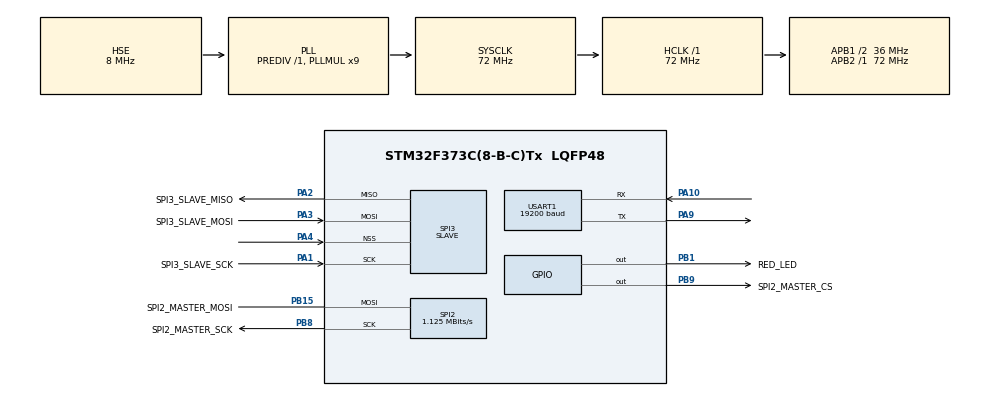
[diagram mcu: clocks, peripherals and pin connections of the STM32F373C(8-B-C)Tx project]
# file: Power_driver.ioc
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FREERTOS.BinarySemaphores01=SaveToFlashBinarySem,Dynamic,NULL
FREERTOS.Queues01=SlaveToDAC_Queue,4,uint32_t,0,Dynamic,NULL,NULL;BufferQueue,4,uint8_t,0,Dynamic,NULL,NULL;SPIQueue,4,uint32_t,0,Dynamic,NULL,NULL
FREERTOS.Tasks01=UART_Task,0,128,StartUART_Task,Default,NULL,Dynamic,NULL,NULL;SPI_SlaveTask,1,128,StartSPI_Slave,Default,NULL,Dynamic,NULL,NULL;SPI_DacTask,0,128,StartSPI_DAC,Default,NULL,Dynamic,NULL,NULL;SPI_ReceiveHost,0,128,SPI_ReceiveHostTask,Default,NULL,Dynamic,NULL,NULL
FREERTOS.configTOTAL_HEAP_SIZE=8000
Mcu.Family=STM32F3
Mcu.Name=STM32F373C(8-B-C)Tx
Mcu.Package=LQFP48
NVIC.PriorityGroup=NVIC_PRIORITYGROUP_4
NVIC.SPI3_IRQn=true\:5\:0\:true\:false\:true\:true\:true\:true
NVIC.TIM18_DAC2_IRQn=true\:0\:0\:false\:false\:true\:false\:false\:true
NVIC.TimeBase=TIM18_DAC2_IRQn
NVIC.TimeBaseIP=TIM18
NVIC.USART1_IRQn=true\:6\:0\:true\:false\:true\:true\:true\:true
PA1.GPIO_Label=SPI3_SLAVE_SCK
PA1.Mode=Full_Duplex_Slave
PA1.Signal=SPI3_SCK
PA10.Mode=Asynchronous
PA10.Signal=USART1_RX
PA13.Mode=Trace_Asynchronous_SW
PA13.Signal=SYS_JTMS-SWDIO
PA14.Mode=Trace_Asynchronous_SW
PA14.Signal=SYS_JTCK-SWCLK
PA2.GPIO_Label=SPI3_SLAVE_MISO
PA2.Mode=Full_Duplex_Slave
PA2.Signal=SPI3_MISO
PA3.GPIO_Label=SPI3_SLAVE_MOSI
PA3.Mode=Full_Duplex_Slave
PA3.Signal=SPI3_MOSI
PA4.Mode=NSS_Signal_Hard_Input
PA4.Signal=SPI3_NSS
PA9.Mode=Asynchronous
PA9.Signal=USART1_TX
PB1.GPIO_Label=RED_LED
PB1.Signal=GPIO_Output
PB15.GPIO_Label=SPI2_MASTER_MOSI
PB15.Mode=Simplex_Bidirectional_Master
PB15.Signal=SPI2_MOSI
PB3.Mode=Trace_Asynchronous_SW
PB3.Signal=SYS_JTDO-TRACESWO
PB6.Signal=I2C1_SCL
PB7.Signal=I2C1_SDA
PB8.GPIO_Label=SPI2_MASTER_SCK
PB8.Mode=Simplex_Bidirectional_Master
PB8.Signal=SPI2_SCK
PB9.GPIO_Label=SPI2_MASTER_CS
PB9.Signal=GPIO_Output
PF0-OSC_IN.Mode=HSE-External-Oscillator
PF0-OSC_IN.Signal=RCC_OSC_IN
PF1-OSC_OUT.Mode=HSE-External-Oscillator
PF1-OSC_OUT.Signal=RCC_OSC_OUT
ProjectManager.HeapSize=0x200
ProjectManager.StackSize=0x400
ProjectManager.TargetToolchain=MDK-ARM V5.27
RCC.AHBFreq_Value=72000000
RCC.APB1CLKDivider=RCC_HCLK_DIV2
RCC.APB1Freq_Value=36000000
RCC.APB1TimFreq_Value=72000000
RCC.APB2Freq_Value=72000000
RCC.APB2TimFreq_Value=72000000
RCC.CortexFreq_Value=72000000
RCC.HCLKFreq_Value=72000000
RCC.HSE_VALUE=8000000
RCC.HSI_VALUE=8000000
RCC.LSE_VALUE=32768
RCC.PLLMUL=RCC_PLL_MUL9
RCC.PLLSourceVirtual=RCC_PLLSOURCE_HSE
RCC.SYSCLKFreq_VALUE=72000000
RCC.SYSCLKSource=RCC_SYSCLKSOURCE_PLLCLK
RCC.USBFreq_Value=72000000
SPI2.BaudRatePrescaler=SPI_BAUDRATEPRESCALER_32
SPI2.CalculateBaudRate=1.125 MBits/s
SPI2.DataSize=SPI_DATASIZE_8BIT
SPI2.Direction=SPI_DIRECTION_1LINE
SPI2.Mode=SPI_MODE_MASTER
SPI2.VirtualType=VM_MASTER
SPI3.CLKPhase=SPI_PHASE_2EDGE
SPI3.DataSize=SPI_DATASIZE_8BIT
SPI3.Direction=SPI_DIRECTION_2LINES
SPI3.Mode=SPI_MODE_SLAVE
SPI3.VirtualNSS=VM_NSSHARD
SPI3.VirtualType=VM_SLAVE
USART1.BaudRate=19200
USART1.VirtualMode-Asynchronous=VM_ASYNC
VP_FREERTOS_VS_CMSIS_V1.Mode=CMSIS_V1
VP_SYS_VS_tim18.Mode=TIM18
board=custom

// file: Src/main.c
/* USER CODE BEGIN Header */
/**
  ******************************************************************************
  * @file           : main.c
  * @brief          : Main program body
  ******************************************************************************
  * @attention
  *
  * <h2><center>&copy; Copyright (c) 2020 STMicroelectronics.
  * All rights reserved.</center></h2>
  *
  * This software component is licensed by ST under Ultimate Liberty license
  * SLA0044, the "License"; You may not use this file except in compliance with
  * the License. You may obtain a copy of the License at:
  *                             www.st.com/SLA0044
  *
  ******************************************************************************
  */
/* USER CODE END Header */

#include "main.h"
#include "cmsis_os.h"

SPI_HandleTypeDef hspi2;
SPI_HandleTypeDef hspi3;

UART_HandleTypeDef huart1;

osThreadId UART_TaskHandle;
osThreadId SPI_SlaveTaskHandle;
osThreadId SPI_DacTaskHandle;
osThreadId SPI_ReceiveHostHandle;
osMessageQId SlaveToDAC_QueueHandle;
osMessageQId BufferQueueHandle;
osMessageQId SPIQueueHandle;
osSemaphoreId SaveToFlashBinarySemHandle;
/* USER CODE BEGIN PV */
osSemaphoreId USART1_BinarySemHandle;
osMessageQId UARTQueueHandle;
FLASH_EraseInitTypeDef hflash;
extern FlashMapTypeDef FlashMap;

/* USER CODE END PV */

void SystemClock_Config(void);
static void MX_GPIO_Init(void);
static void MX_SPI3_Init(void);
static void MX_USART1_UART_Init(void);
static void MX_SPI2_Init(void);
void StartUART_Task(void const * argument);
void StartSPI_Slave(void const * argument);
void StartSPI_DAC(void const * argument);
void SPI_ReceiveHostTask(void const * argument);

/* USER CODE BEGIN 0 */
uint8_t data_rx_SPI[3];
/* USER CODE END 0 */

int main(void)
{

  /* MCU Configuration--------------------------------------------------------*/

  /* Reset of all peripherals, Initializes the Flash interface and the Systick. */
  HAL_Init();

  /* Configure the system clock */
  SystemClock_Config();

  /* Initialize all configured peripherals */
  MX_GPIO_Init();
  MX_SPI3_Init();
  MX_USART1_UART_Init();
  MX_SPI2_Init();

  /* Create the semaphores(s) */
  /* definition and creation of SaveToFlashBinarySem */
  osSemaphoreDef(SaveToFlashBinarySem);
  SaveToFlashBinarySemHandle = osSemaphoreCreate(osSemaphore(SaveToFlashBinarySem), 1);

  /* USER CODE BEGIN RTOS_SEMAPHORES */
  /* add semaphores, ... */
  osSemaphoreDef(USART1_BinarySem);
  USART1_BinarySemHandle = osSemaphoreCreate(osSemaphore(USART1_BinarySem), 1);
  /* USER CODE END RTOS_SEMAPHORES */

  /* Create the queue(s) */
  /* definition and creation of SlaveToDAC_Queue */
  osMessageQDef(SlaveToDAC_Queue, 4, uint32_t);
  SlaveToDAC_QueueHandle = osMessageCreate(osMessageQ(SlaveToDAC_Queue), NULL);

  /* definition and creation of BufferQueue */
  osMessageQDef(BufferQueue, 4, uint8_t);
  BufferQueueHandle = osMessageCreate(osMessageQ(BufferQueue), NULL);

  /* definition and creation of SPIQueue */
  osMessageQDef(SPIQueue, 4, uint32_t);
  SPIQueueHandle = osMessageCreate(osMessageQ(SPIQueue), NULL);

  /* USER CODE BEGIN RTOS_QUEUES */
  osMessageQDef(UARTQueue, 256, uint8_t);
  UARTQueueHandle = osMessageCreate(osMessageQ(UARTQueue), NULL);
  /* USER CODE END RTOS_QUEUES */

  /* Create the thread(s) */
  /* definition and creation of UART_Task */
  osThreadDef(UART_Task, StartUART_Task, osPriorityNormal, 0, 128);
  UART_TaskHandle = osThreadCreate(osThread(UART_Task), NULL);

  /* definition and creation of SPI_SlaveTask */
  osThreadDef(SPI_SlaveTask, StartSPI_Slave, osPriorityAboveNormal, 0, 128);
  SPI_SlaveTaskHandle = osThreadCreate(osThread(SPI_SlaveTask), NULL);

  /* definition and creation of SPI_DacTask */
  osThreadDef(SPI_DacTask, StartSPI_DAC, osPriorityNormal, 0, 128);
  SPI_DacTaskHandle = osThreadCreate(osThread(SPI_DacTask), NULL);

  /* definition and creation of SPI_ReceiveHost */
  osThreadDef(SPI_ReceiveHost, SPI_ReceiveHostTask, osPriorityNormal, 0, 128);
  SPI_ReceiveHostHandle = osThreadCreate(osThread(SPI_ReceiveHost), NULL);

  /* USER CODE BEGIN RTOS_THREADS */
  /* add threads, ... */
  //DAC_channel_init();
  //Flash_ReadParams();
  NVIC_EnableIRQ(SPI3_IRQn);
		HAL_NVIC_SetPriority(SPI3_IRQn, 5, 0);
  NVIC_EnableIRQ(USART1_IRQn);
		HAL_NVIC_SetPriority(USART1_IRQn, 6, 0);
  //__HAL_UART_ENABLE_IT(&huart1, UART_IT_RXNE);
  //uint32_t temp1 = VoltInterpolation(0x01);
		HAL_SPI_Receive_IT (&hspi3, data_rx_SPI, sizeof(uint8_t) * 3);

  /* USER CODE END RTOS_THREADS */

  /* Start scheduler */
  osKernelStart();

  /* We should never get here as control is now taken by the scheduler */

  /* Infinite loop */
  while (1)
  {

  }
}

void SystemClock_Config(void)
{
  RCC_OscInitTypeDef RCC_OscInitStruct = {0};
  RCC_ClkInitTypeDef RCC_ClkInitStruct = {0};
  RCC_PeriphCLKInitTypeDef PeriphClkInit = {0};

  /** Initializes the CPU, AHB and APB busses clocks
  */
  RCC_OscInitStruct.OscillatorType = RCC_OSCILLATORTYPE_HSE;
  RCC_OscInitStruct.HSEState = RCC_HSE_ON;
  RCC_OscInitStruct.HSEPredivValue = RCC_HSE_PREDIV_DIV1;
  RCC_OscInitStruct.HSIState = RCC_HSI_ON;
  RCC_OscInitStruct.PLL.PLLState = RCC_PLL_ON;
  RCC_OscInitStruct.PLL.PLLSource = RCC_PLLSOURCE_HSE;
  RCC_OscInitStruct.PLL.PLLMUL = RCC_PLL_MUL9;
  if (HAL_RCC_OscConfig(&RCC_OscInitStruct) != HAL_OK)
  {
    Error_Handler();
  }
  /** Initializes the CPU, AHB and APB busses clocks
  */
  RCC_ClkInitStruct.ClockType = RCC_CLOCKTYPE_HCLK|RCC_CLOCKTYPE_SYSCLK
                              |RCC_CLOCKTYPE_PCLK1|RCC_CLOCKTYPE_PCLK2;
  RCC_ClkInitStruct.SYSCLKSource = RCC_SYSCLKSOURCE_PLLCLK;
  RCC_ClkInitStruct.AHBCLKDivider = RCC_SYSCLK_DIV1;
  RCC_ClkInitStruct.APB1CLKDivider = RCC_HCLK_DIV2;
  RCC_ClkInitStruct.APB2CLKDivider = RCC_HCLK_DIV1;

  if (HAL_RCC_ClockConfig(&RCC_ClkInitStruct, FLASH_LATENCY_2) != HAL_OK)
  {
    Error_Handler();
  }
  PeriphClkInit.PeriphClockSelection = RCC_PERIPHCLK_USART1;
  PeriphClkInit.Usart1ClockSelection = RCC_USART1CLKSOURCE_PCLK2;
  if (HAL_RCCEx_PeriphCLKConfig(&PeriphClkInit) != HAL_OK)
  {
    Error_Handler();
  }
}

static void MX_SPI2_Init(void)
{

  /* SPI2 parameter configuration*/
  hspi2.Instance = SPI2;
  hspi2.Init.Mode = SPI_MODE_MASTER;
  hspi2.Init.Direction = SPI_DIRECTION_1LINE;
  hspi2.Init.DataSize = SPI_DATASIZE_8BIT;
  hspi2.Init.CLKPolarity = SPI_POLARITY_LOW;
  hspi2.Init.CLKPhase = SPI_PHASE_1EDGE;
  hspi2.Init.NSS = SPI_NSS_SOFT;
  hspi2.Init.BaudRatePrescaler = SPI_BAUDRATEPRESCALER_32;
  hspi2.Init.FirstBit = SPI_FIRSTBIT_MSB;
  hspi2.Init.TIMode = SPI_TIMODE_DISABLE;
  hspi2.Init.CRCCalculation = SPI_CRCCALCULATION_DISABLE;
  hspi2.Init.CRCPolynomial = 7;
  hspi2.Init.CRCLength = SPI_CRC_LENGTH_DATASIZE;
  hspi2.Init.NSSPMode = SPI_NSS_PULSE_ENABLE;
  if (HAL_SPI_Init(&hspi2) != HAL_OK)
  {
    Error_Handler();
  }

}

static void MX_SPI3_Init(void)
{

  /* SPI3 parameter configuration*/
  hspi3.Instance = SPI3;
  hspi3.Init.Mode = SPI_MODE_SLAVE;
  hspi3.Init.Direction = SPI_DIRECTION_2LINES;
  hspi3.Init.DataSize = SPI_DATASIZE_8BIT;
  hspi3.Init.CLKPolarity = SPI_POLARITY_LOW;
  hspi3.Init.CLKPhase = SPI_PHASE_2EDGE;
  hspi3.Init.NSS = SPI_NSS_HARD_INPUT;
  hspi3.Init.FirstBit = SPI_FIRSTBIT_MSB;
  hspi3.Init.TIMode = SPI_TIMODE_DISABLE;
  hspi3.Init.CRCCalculation = SPI_CRCCALCULATION_DISABLE;
  hspi3.Init.CRCPolynomial = 7;
  hspi3.Init.CRCLength = SPI_CRC_LENGTH_DATASIZE;
  hspi3.Init.NSSPMode = SPI_NSS_PULSE_DISABLE;
  if (HAL_SPI_Init(&hspi3) != HAL_OK)
  {
    Error_Handler();
  }

}

static void MX_USART1_UART_Init(void)
{

  huart1.Instance = USART1;
  huart1.Init.BaudRate = 19200;
  huart1.Init.WordLength = UART_WORDLENGTH_8B;
  huart1.Init.StopBits = UART_STOPBITS_1;
  huart1.Init.Parity = UART_PARITY_NONE;
  huart1.Init.Mode = UART_MODE_TX_RX;
  huart1.Init.HwFlowCtl = UART_HWCONTROL_NONE;
  huart1.Init.OverSampling = UART_OVERSAMPLING_16;
  huart1.Init.OneBitSampling = UART_ONE_BIT_SAMPLE_DISABLE;
  huart1.AdvancedInit.AdvFeatureInit = UART_ADVFEATURE_NO_INIT;
  if (HAL_UART_Init(&huart1) != HAL_OK)
  {
    Error_Handler();
  }

}

static void MX_GPIO_Init(void)
{
  GPIO_InitTypeDef GPIO_InitStruct = {0};

  /* GPIO Ports Clock Enable */
  __HAL_RCC_GPIOF_CLK_ENABLE();
  __HAL_RCC_GPIOA_CLK_ENABLE();
  __HAL_RCC_GPIOB_CLK_ENABLE();

  /*Configure GPIO pin Output Level */
  HAL_GPIO_WritePin(GPIOB, RED_LED_Pin|SPI2_MASTER_CS_Pin, GPIO_PIN_RESET);

  /*Configure GPIO pins : RED_LED_Pin SPI2_MASTER_CS_Pin */
  GPIO_InitStruct.Pin = RED_LED_Pin|SPI2_MASTER_CS_Pin;
  GPIO_InitStruct.Mode = GPIO_MODE_OUTPUT_PP;
  GPIO_InitStruct.Pull = GPIO_NOPULL;
  GPIO_InitStruct.Speed = GPIO_SPEED_FREQ_LOW;
  HAL_GPIO_Init(GPIOB, &GPIO_InitStruct);

  /*Configure GPIO pins : PB6 PB7 */
  GPIO_InitStruct.Pin = GPIO_PIN_6|GPIO_PIN_7;
  GPIO_InitStruct.Mode = GPIO_MODE_AF_OD;
  GPIO_InitStruct.Pull = GPIO_PULLUP;
  GPIO_InitStruct.Speed = GPIO_SPEED_FREQ_HIGH;
  GPIO_InitStruct.Alternate = GPIO_AF4_I2C1;
  HAL_GPIO_Init(GPIOB, &GPIO_InitStruct);

}

/* USER CODE BEGIN 4 */
//void HAL_GPIO_EXTI_Callback(uint16_t GPIO_Pin)
//{
//		static hostDataTypeDef xHostDataSlave;
//  static portBASE_TYPE xHigherPriorityTaskWoken = pdFALSE;
//  uint8_t data_rx[3];
//		if (GPIO_Pin == SPI3_SLAVE_CS_Pin)
//		{
//
//				if (HAL_SPI_Receive(&hspi3, data_rx, sizeof(uint8_t) * 3, 1000) == HAL_OK)
//						{
//								xHostDataSlave.command = data_rx[0];
//								xHostDataSlave.channel = data_rx[1];
//        xHostDataSlave.data = data_rx[2];
//#if (defined(_DEBUG))
//								{
//										printf("%d\n", data_rx[0]);
//								}
//#endif
//        HAL_GPIO_WritePin(RED_LED_GPIO_Port, RED_LED_Pin, GPIO_PIN_RESET);
//								xQueueSendFromISR(SPIQueueHandle, &xHostDataSlave, &xHigherPriorityTaskWoken);
//						}
//						portYIELD_FROM_ISR(xHigherPriorityTaskWoken);
//		}
//
//}
void HAL_SPI_RxCpltCallback (SPI_HandleTypeDef * hspi)
{
		static hostDataTypeDef xHostDataSlave;
  static portBASE_TYPE xHigherPriorityTaskWoken = pdFALSE;

		if (hspi == &hspi3)
		{

				//if (HAL_SPI_Receive(&hspi3, data_rx, sizeof(uint8_t) * 3, 1000) == HAL_OK)
						//{
								xHostDataSlave.command = data_rx_SPI[0];
								xHostDataSlave.channel = data_rx_SPI[1];
        xHostDataSlave.data = data_rx_SPI[2];
#if (defined(_DEBUG))
								{
										printf("%d\n", data_rx_SPI[0]);
								}
#endif
								memset(data_rx_SPI, 0, 3);
								xQueueSendFromISR(SPIQueueHandle, &xHostDataSlave, &xHigherPriorityTaskWoken);
						//}
						portYIELD_FROM_ISR(xHigherPriorityTaskWoken);
		}
}
/* USER CODE END 4 */

void StartUART_Task(void const * argument)
{
  /* USER CODE BEGIN 5 */
		uint8_t data_rx[10];
  uint8_t data_rx_temp;
		uint8_t i = 0;
		double receive_coeff;
		//portBASE_TYPE xStatus;
		xSemaphoreTake(USART1_BinarySemHandle, 0);
		HAL_UART_Receive_IT(&huart1, &data_rx_temp, sizeof(uint8_t) * 1);
  /* Infinite loop */
  for(;;)
  {

    //if (xSemaphoreTake(USART1_BinarySemHandle, portMAX_DELAY) == pdTRUE)
				if (xQueueReceive(SPIQueueHandle, data_rx, 100) == pdTRUE)
				{
						data_rx[++i] = data_rx_temp;
						#if defined(_DEBUG)
								printf("Str %s\n", data_rx);
						#endif

      if (UART_CheckEndString(data_rx) != true)
						{
								HAL_UART_AbortReceive(&huart1);
								//memset(data_rx, 0, sizeof(data_rx));
        //memset(huart1.pRxBuffPtr , 0, sizeof(huart1.pRxBuffPtr));
						}
						else
						{
								switch(data_rx[0])
										{
												case('1'):
														receive_coeff = atof((char *)&data_rx[2]);
														FlashMap.coeff_a = receive_coeff;
														#if defined(_DEBUG)
																printf("%f\n", FlashMap.coeff_a);
														#endif
														memset(data_rx, 0, sizeof(data_rx));
														break;
												case('2'):
														receive_coeff = atof((char *)&data_rx[2]);
														FlashMap.coeff_b = receive_coeff;
														memset(data_rx, 0, sizeof(data_rx));
														break;
												case('3'):
														receive_coeff = atof((char *)&data_rx[2]);
														FlashMap.coeff_c = receive_coeff;
														memset(data_rx, 0, sizeof(data_rx));
														break;
												case('4'):
														/**Create save serial number*/
												case('5'):
														WriteStruct_to_FLASH ();
														break;
												default:
														break;
										}
						}
      HAL_UART_Receive_IT(&huart1, &data_rx_temp, sizeof(uint8_t) * 1);
				}
  }
  /* USER CODE END 5 */
}

void StartSPI_Slave(void const * argument)
{
  /* USER CODE BEGIN StartSPI_Slave */
		uint8_t temp[3];
  hostDataTypeDef xHostDataFromSPI;
  portBASE_TYPE xStatus;
  //HAL_SPI_Receive_IT (&hspi3, temp, sizeof(uint8_t) * 3);
  /* Infinite loop */
  for(;;)
  {
				HAL_SPI_Receive_IT (&hspi3, data_rx_SPI, sizeof(uint8_t) * 3);
				if (xQueueReceive(SPIQueueHandle, &xHostDataFromSPI, 100) == pdTRUE)
				{
						#if defined(_DEBUG)
						//printf("SlaveSPI\n");
						#endif
						switch (xHostDataFromSPI.command)
						{
								case CHECK_CONNECTION: //Check connection
										if ((xStatus = xQueueSend(BufferQueueHandle, &xHostDataFromSPI, 100)) != errQUEUE_FULL)
												taskYIELD();
										break;
								case RECEIVE_SERIAL_NUM: //Receive serial number
										if ((xStatus = xQueueSend(BufferQueueHandle, &xHostDataFromSPI, 100)) != errQUEUE_FULL)
												taskYIELD();
										break;
								case TRANSMIT_TO_DAC: //Transmit to DAC
										//if ((xStatus = xQueueSend(BufferQueueHandle, &xHostDataSlave, 100)) != errQUEUE_FULL)
												if ((xStatus = xQueueSend(SlaveToDAC_QueueHandle, &xHostDataFromSPI, 100)) != errQUEUE_FULL)
										break;
								default:
										taskYIELD();
						}
						taskYIELD();
				}
		}
  /* USER CODE END StartSPI_Slave */
}

void StartSPI_DAC(void const * argument)
{
  /* USER CODE BEGIN StartSPI_DAC */
  hostDataTypeDef xHostData;
		uint8_t DAC_setup;
  /* Infinite loop */
  for(;;)
  {
				if (xQueueReceive(SlaveToDAC_QueueHandle, &xHostData, 10) == pdPASS)
				{
						taskENTER_CRITICAL();
      #if defined(_DEBUG)
								printf("Data from SPI %d\n", xHostData.data);
						#endif
						if (xHostData.data > 0)
								DAC_setup = VoltInterpolation((double)xHostData.data);
						else
								DAC_setup = 0;
						//DAC_SPI_Transmit(xHostData.data_1, DAC_WRITE_N_AND_UPDATE_ALL, xHostData.data_0);
      DAC_SPI_Transmit(DAC_setup, DAC_WRITE_N_AND_UPDATE_ALL, xHostData.channel);
      #if defined(_DEBUG)
								printf("Data in DAC %d\n", DAC_setup);
      #endif
						taskEXIT_CRITICAL();
				}
  }
  /* USER CODE END StartSPI_DAC */
}

void SPI_ReceiveHostTask(void const * argument)
{
  /* USER CODE BEGIN SPI_ReceiveHostTask */
  hostDataTypeDef xHostData;
  FlashMapTypeDef FlashMap;
  /* Infinite loop */
  for(;;)
				{
//				if ((xQueueReceive(BufferQueueHandle, &xHostData, 100) == pdPASS) == 0)
//				{
//						switch (xHostData.command)
//						{
//								case (RECEIVE_SERIAL_NUM):
//										HAL_SPI_Transmit(&hspi3, &FlashMap.serial_number, sizeof(uint8_t), 100);
//										taskYIELD();
//										break;
//								default:
//										HAL_SPI_Transmit(&hspi3, &xHostData.command, sizeof(uint8_t), 100);
//          taskYIELD();
//										break;
//						}
//				}
    osDelay(1);
  }
  /* USER CODE END SPI_ReceiveHostTask */
}

void HAL_TIM_PeriodElapsedCallback(TIM_HandleTypeDef *htim)
{
  if (htim->Instance == TIM18) {
    HAL_IncTick();
  }
}

void Error_Handler(void)
{
}

/************************ (C) COPYRIGHT STMicroelectronics *****END OF FILE****/
